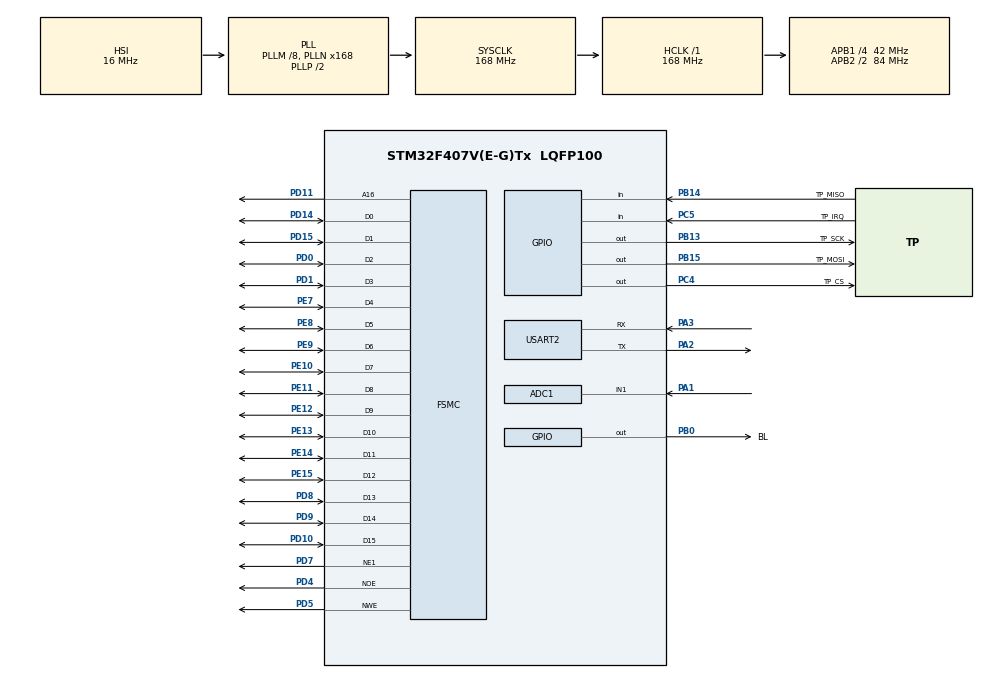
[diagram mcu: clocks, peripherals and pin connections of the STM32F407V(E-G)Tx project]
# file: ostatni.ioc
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ADC1.Channel-2\#ChannelRegularConversion=ADC_CHANNEL_1
ADC1.NbrOfConversionFlag=1
ADC1.Rank-2\#ChannelRegularConversion=1
ADC1.SamplingTime-2\#ChannelRegularConversion=ADC_SAMPLETIME_3CYCLES
ADC1.master=1
FSMC.AddressSetupTime1=1
FSMC.BusTurnAroundDuration1=0
FSMC.DataSetupTime1=15
FSMC.MemoryType1=FSMC_MEMORY_TYPE_SRAM
Mcu.Family=STM32F4
Mcu.Name=STM32F407V(E-G)Tx
Mcu.Package=LQFP100
NVIC.PriorityGroup=NVIC_PRIORITYGROUP_4
PA1.Signal=ADCx_IN1
PA2.Mode=Asynchronous
PA2.Signal=USART2_TX
PA3.Mode=Asynchronous
PA3.Signal=USART2_RX
PB0.GPIO_Label=BL
PB0.GPIO_PuPd=GPIO_PULLUP
PB0.GPIO_Speed=GPIO_SPEED_FREQ_HIGH
PB0.PinState=GPIO_PIN_SET
PB0.Signal=GPIO_Output
PB13.GPIO_Label=TP_SCK
PB13.GPIO_PuPd=GPIO_PULLUP
PB13.GPIO_Speed=GPIO_SPEED_FREQ_HIGH
PB13.PinState=GPIO_PIN_SET
PB13.Signal=GPIO_Output
PB14.GPIO_Label=TP_MISO
PB14.GPIO_PuPd=GPIO_PULLUP
PB14.Signal=GPIO_Input
PB15.GPIO_Label=TP_MOSI
PB15.GPIO_PuPd=GPIO_PULLUP
PB15.GPIO_Speed=GPIO_SPEED_FREQ_HIGH
PB15.PinState=GPIO_PIN_SET
PB15.Signal=GPIO_Output
PC4.GPIO_Label=TP_CS
PC4.GPIO_PuPd=GPIO_PULLUP
PC4.GPIO_Speed=GPIO_SPEED_FREQ_HIGH
PC4.PinState=GPIO_PIN_SET
PC4.Signal=GPIO_Output
PC5.GPIO_Label=TP_IRQ
PC5.GPIO_PuPd=GPIO_PULLDOWN
PC5.Signal=GPIO_Input
PD0.Mode=16b-d1
PD0.Signal=FSMC_D2
PD1.Mode=16b-d1
PD1.Signal=FSMC_D3
PD10.Mode=16b-d1
PD10.Signal=FSMC_D15
PD11.Mode=A16_1
PD11.Signal=FSMC_A16
PD14.Mode=16b-d1
PD14.Signal=FSMC_D0
PD15.Mode=16b-d1
PD15.Signal=FSMC_D1
PD4.Mode=Lcd1
PD4.Signal=FSMC_NOE
PD5.Mode=Lcd1
PD5.Signal=FSMC_NWE
PD7.Mode=NorPsramChipSelect1_1
PD7.Signal=FSMC_NE1
PD8.Mode=16b-d1
PD8.Signal=FSMC_D13
PD9.Mode=16b-d1
PD9.Signal=FSMC_D14
PE10.Mode=16b-d1
PE10.Signal=FSMC_D7
PE11.Mode=16b-d1
PE11.Signal=FSMC_D8
PE12.Mode=16b-d1
PE12.Signal=FSMC_D9
PE13.Mode=16b-d1
PE13.Signal=FSMC_D10
PE14.Mode=16b-d1
PE14.Signal=FSMC_D11
PE15.Mode=16b-d1
PE15.Signal=FSMC_D12
PE7.Mode=16b-d1
PE7.Signal=FSMC_D4
PE8.Mode=16b-d1
PE8.Signal=FSMC_D5
PE9.Mode=16b-d1
PE9.Signal=FSMC_D6
PH0-OSC_IN.Mode=HSE-External-Oscillator
PH0-OSC_IN.Signal=RCC_OSC_IN
PH1-OSC_OUT.Mode=HSE-External-Oscillator
PH1-OSC_OUT.Signal=RCC_OSC_OUT
ProjectManager.HeapSize=0x200
ProjectManager.StackSize=0x400
ProjectManager.TargetToolchain=STM32CubeIDE
RCC.48MHZClocksFreq_Value=84000000
RCC.AHBFreq_Value=168000000
RCC.APB1CLKDivider=RCC_HCLK_DIV4
RCC.APB1Freq_Value=42000000
RCC.APB1TimFreq_Value=84000000
RCC.APB2CLKDivider=RCC_HCLK_DIV2
RCC.APB2Freq_Value=84000000
RCC.APB2TimFreq_Value=168000000
RCC.CortexFreq_Value=168000000
RCC.HCLKFreq_Value=168000000
RCC.HSE_VALUE=8000000
RCC.HSI_VALUE=16000000
RCC.LSE_VALUE=32768
RCC.PLLM=8
RCC.PLLN=168
RCC.SYSCLKFreq_VALUE=168000000
RCC.SYSCLKSource=RCC_SYSCLKSOURCE_PLLCLK
RCC.VCOOutputFreq_Value=336000000
SH.ADCx_IN1.0=ADC1_IN1,IN1
STMicroelectronics.X-CUBE-TOUCHGFX.4.24.0.ApplicationCcGraphicsJjApplication=TouchGFXOoGenerator
STMicroelectronics.X-CUBE-TOUCHGFX.4.24.0.tgfx_custom_height=480
STMicroelectronics.X-CUBE-TOUCHGFX.4.24.0.tgfx_custom_width=800
STMicroelectronics.X-CUBE-TOUCHGFX.4.24.0.tgfx_display_interface=disp_fmc
STMicroelectronics.X-CUBE-TOUCHGFX.4.24.0_IsPackSelfContextualization=true
TIM6.Period=65535
TIM6.Prescaler=71
USART2.VirtualMode=VM_ASYNC
VP_CRC_VS_CRC.Mode=CRC_Activate
VP_STMicroelectronics.X-CUBE-TOUCHGFX_VS_GraphicsJjApplication_4.24.0.Mode=GraphicsJjApplication
VP_TIM6_VS_ClockSourceINT.Mode=Enable_Timer
board=custom

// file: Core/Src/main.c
/* USER CODE BEGIN Header */
/**
  ******************************************************************************
  * @file           : main.c
  * @brief          : Main program body
  ******************************************************************************
  * @attention
  *
  * Copyright (c) 2024 STMicroelectronics.
  * All rights reserved.
  *
  * This software is licensed under terms that can be found in the LICENSE file
  * in the root directory of this software component.
  * If no LICENSE file comes with this software, it is provided AS-IS.
  *
  ******************************************************************************
  */
/* USER CODE END Header */
#include "main.h"
#include "adc.h"
#include "crc.h"
#include "tim.h"
#include "usart.h"
#include "gpio.h"
#include "fsmc.h"
#include "app_touchgfx.h"

/* USER CODE BEGIN Includes */
#include "lcd.h"
#include "gui.h"
#include <stdio.h>
#include "test.h"

/* USER CODE END Includes */

void SystemClock_Config(void);

/* USER CODE BEGIN 0 */
int __io_putchar(int ch)
{
  if (ch == '\n') {
    __io_putchar('\r');
  }

  HAL_UART_Transmit(&huart2, (uint8_t*)&ch, 1, HAL_MAX_DELAY);

  return 1;
}
/* USER CODE END 0 */

int main(void)
{

  /* MCU Configuration--------------------------------------------------------*/

  /* Reset of all peripherals, Initializes the Flash interface and the Systick. */
  HAL_Init();

  /* Configure the system clock */
  SystemClock_Config();

  /* Initialize all configured peripherals */
  MX_GPIO_Init();
  MX_FSMC_Init();
  MX_TIM6_Init();
  MX_ADC1_Init();
  MX_USART2_UART_Init();
  MX_CRC_Init();
  MX_TouchGFX_Init();
  /* USER CODE BEGIN 2 */

 // HAL_GPIO_WritePin(GPIOD, GPIO_PIN_13, GPIO_PIN_SET);

	//HAL_GPIO_WritePin(GPIOB,BL_Pin,GPIO_PIN_SET);
  lcd_init();
  lcd_clear(WHITE);
  lcd_direction(1);
  //lcd_clear(BLUE);
  int value = 100;
  pic_test();
  /* USER CODE END 2 */

  /* Infinite loop */
  /* USER CODE BEGIN WHILE */
  while (1)
  {
	       // lcd_clear(WHITE);
//	  		HAL_GPIO_WritePin(GPIOB,BL_Pin,GPIO_PIN_SET);
//	  		main_test();
//	  		test_read();
//	  		test_color();
//	  		test_fillrec();
//	  		test_circle();
//           // simulate_speed_change();
	  	  	 //dynamic_rotation_test();
//            test_triangle();
//	  		english_font_test();
//	  		chinese_font_test();
           // pic_test();
//	  		rotate_test();

	  		HAL_ADC_Start(&hadc1);
	  	    HAL_ADC_PollForConversion(&hadc1, HAL_MAX_DELAY);

	  		uint32_t value = HAL_ADC_GetValue(&hadc1);
	  		printf("ADC = %lu\n", value);
	  		draw_speed_indicator(value);
	  		//HAL_Delay(500);
    /* USER CODE END WHILE */

  MX_TouchGFX_Process();
  }
}

void SystemClock_Config(void)
{
  RCC_OscInitTypeDef RCC_OscInitStruct = {0};
  RCC_ClkInitTypeDef RCC_ClkInitStruct = {0};

  /** Configure the main internal regulator output voltage
  */
  __HAL_RCC_PWR_CLK_ENABLE();
  __HAL_PWR_VOLTAGESCALING_CONFIG(PWR_REGULATOR_VOLTAGE_SCALE1);

  /** Initializes the RCC Oscillators according to the specified parameters
  * in the RCC_OscInitTypeDef structure.
  */
  RCC_OscInitStruct.OscillatorType = RCC_OSCILLATORTYPE_HSI;
  RCC_OscInitStruct.HSIState = RCC_HSI_ON;
  RCC_OscInitStruct.HSICalibrationValue = RCC_HSICALIBRATION_DEFAULT;
  RCC_OscInitStruct.PLL.PLLState = RCC_PLL_ON;
  RCC_OscInitStruct.PLL.PLLSource = RCC_PLLSOURCE_HSI;
  RCC_OscInitStruct.PLL.PLLM = 8;
  RCC_OscInitStruct.PLL.PLLN = 168;
  RCC_OscInitStruct.PLL.PLLP = RCC_PLLP_DIV2;
  RCC_OscInitStruct.PLL.PLLQ = 4;
  if (HAL_RCC_OscConfig(&RCC_OscInitStruct) != HAL_OK)
  {
    Error_Handler();
  }

  /** Initializes the CPU, AHB and APB buses clocks
  */
  RCC_ClkInitStruct.ClockType = RCC_CLOCKTYPE_HCLK|RCC_CLOCKTYPE_SYSCLK
                              |RCC_CLOCKTYPE_PCLK1|RCC_CLOCKTYPE_PCLK2;
  RCC_ClkInitStruct.SYSCLKSource = RCC_SYSCLKSOURCE_PLLCLK;
  RCC_ClkInitStruct.AHBCLKDivider = RCC_SYSCLK_DIV1;
  RCC_ClkInitStruct.APB1CLKDivider = RCC_HCLK_DIV4;
  RCC_ClkInitStruct.APB2CLKDivider = RCC_HCLK_DIV2;

  if (HAL_RCC_ClockConfig(&RCC_ClkInitStruct, FLASH_LATENCY_5) != HAL_OK)
  {
    Error_Handler();
  }
}

void Error_Handler(void)
{
  __disable_irq();
  while (1)
  {
  }
}
